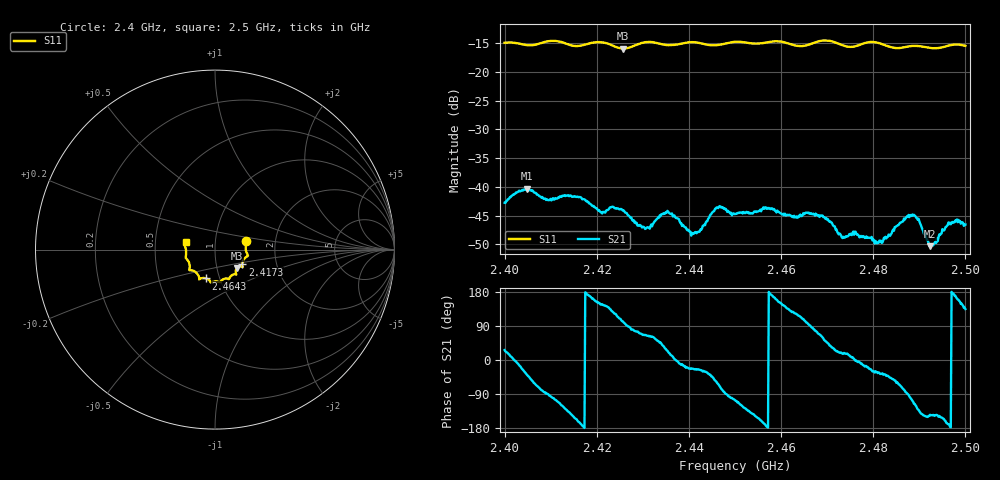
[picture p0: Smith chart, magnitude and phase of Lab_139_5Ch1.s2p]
# Hz S RI R 50
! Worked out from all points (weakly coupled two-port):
!   601 points, 2.4 GHz to 2.5 GHz, reference 50 ohm
!   highest |S21| = -40.34 dB at 2.4048 GHz (marker M1); lowest = -50.3 dB at 2.4923 GHz (marker M2)
!   lowest |S11| = -15.9 dB at 2.4257 GHz (marker M3), VSWR 1.38, Z = 62.5 - j13.1 ohm
!   |S11| at or under -10 dB: start of sweep to end of sweep
!   S12 and S22 are empty: the file has one direction only
!   S11 on the Smith chart (normalised r, x): 2.4 GHz: 1.41, +0.14; 2.4173 GHz: 1.34, -0.23; 2.4643 GHz: 0.86, -0.28; 2.5 GHz: 0.72, +0.06
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2.4e9  0.173 0.049  0.00652 0.00321  0 0  0 0
2.404833e9  0.1706 0.016  0.00748 -0.00605  0 0  0 0
2.409333e9  0.1826 -0.0305  7.8e-05 -0.00769  0 0  0 0
2.416667e9  0.1528 -0.075  -0.0079 -0.00138  0 0  0 0
2.417333e9  0.1518 -0.0824  -0.00778 -8.5e-05  0 0  0 0
2.421167e9  0.1537 -0.0962  -0.00493 0.00319  0 0  0 0
2.425667e9  0.1229 -0.1024  -0.00127 0.00608  0 0  0 0
2.430333e9  0.1184 -0.1372  0.00184 0.00403  0 0  0 0
2.433333e9  0.1126 -0.1372  0.00349 0.00418  0 0  0 0
2.435833e9  0.0954 -0.1422  0.0056 0.00174  0 0  0 0
2.441e9  0.0774 -0.1645  0.00358 -0.00154  0 0  0 0
2.446167e9  0.0461 -0.1653  0.00316 -0.00581  0 0  0 0
2.45e9  0.0295 -0.181  -0.00159 -0.00556  0 0  0 0
2.457e9  -0.0142 -0.1808  -0.00654 -0.000394  0 0  0 0
2.464333e9  -0.0499 -0.1606  -0.00218 0.00515  0 0  0 0
2.466667e9  -0.0759 -0.1595  0.000451 0.00578  0 0  0 0
2.4735e9  -0.0943 -0.1415  0.00353 0.00103  0 0  0 0
2.483333e9  -0.1412 -0.0895  0.0028 -0.00264  0 0  0 0
2.4885e9  -0.1617 -0.0479  -0.00172 -0.00549  0 0  0 0
2.492333e9  -0.1608 -0.0217  -0.00248 -0.00176  0 0  0 0
2.496667e9  -0.1692 0.0245  -0.00486 -0.000354  0 0  0 0
2.5e9  -0.1636 0.0424  -0.00329 0.00335  0 0  0 0
